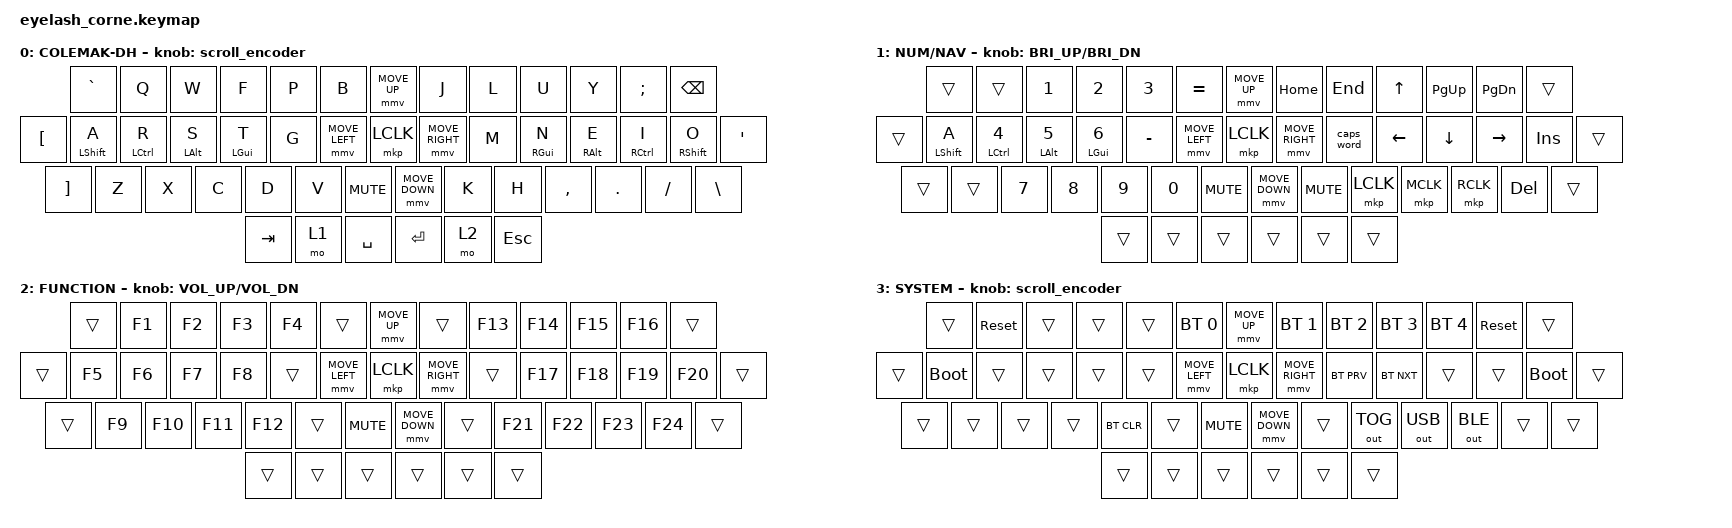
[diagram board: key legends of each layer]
/*
 * Copyright (c) 2020 The ZMK Contributors
 *
 * SPDX-License-Identifier: MIT
 */
#define ZMK_POINTING_DEFAULT_SCRL_VAL 100

#include <behaviors.dtsi>
#include <dt-bindings/zmk/keys.h>
#include <dt-bindings/zmk/bt.h>
#include <dt-bindings/zmk/outputs.h>
#include <dt-bindings/zmk/mouse.h>
#include <dt-bindings/zmk/pointing.h>
#include <input/processors.dtsi>
#include <zephyr/dt-bindings/input/input-event-codes.h>

&mmv_input_listener { input-processors = <&zip_xy_scaler 2 1>; };

&msc_input_listener { input-processors = <&zip_scroll_scaler 2 1>; };

&msc {
    acceleration-exponent = <1>;      // 0
    time-to-max-speed-ms = <100>;       // 300
    delay-ms = <0>;                   // 0
};

&mmv {
    time-to-max-speed-ms = <500>;
    acceleration-exponent = <1>;
    trigger-period-ms = <16>;
};

/ {
    behaviors {
        ht: hold_tap {
            compatible = "zmk,behavior-hold-tap";
            #binding-cells = <2>;
            flavor = "tap-preferred";
            tapping-term-ms = <220>;
            quick-tap-ms = <150>;
            require-prior-idle-ms = <100>;
            bindings = <&kp>, <&kp>;
        };
    };

    conditional_layers {
        compatible = "zmk,conditional-layers";
        tri_layer {
            if-layers = <1 2>;
            then-layer = <3>;
        };
    };

    scroll_encoder: behavior_sensor_rotate_mouse_wheel_up_down {
        compatible = "zmk,behavior-sensor-rotate";
        #sensor-binding-cells = <0>;
        bindings = <&msc SCRL_UP>, <&msc SCRL_DOWN>;

        tap-ms = <20>;
    };

    keymap {
        compatible = "zmk,keymap";

        // ============================================================================
        // COLEMAK-DH BASE LAYER (42 keys)
        // ============================================================================
        default_layer {
            display-name = "COLEMAK-DH";
            bindings = <
        //╭──────────┬──────────┬──────────┬──────────┬──────────┬──────────╮   ╭──────────┬──────────┬──────────┬──────────╮   ╭──────────┬──────────┬──────────┬──────────┬──────────┬──────────╮
        //│  ` ~     │  Q       │  W       │  F       │  P       │  B       │   │          │          │ MOVE_UP  │          │   │  J       │  L       │  U       │  Y       │ ; :      │  BSPC    │
            &kp GRAVE  &kp Q      &kp W      &kp F      &kp P      &kp B                                &mmv MOVE_UP              &kp J      &kp L      &kp U      &kp Y      &kp SEMI   &kp BSPC
        //├──────────┼──────────┼──────────┼──────────┼──────────┼──────────┤   ├──────────┼──────────┼──────────┼──────────┤   ├──────────├──────────├──────────┼──────────┼──────────┼──────────┤
        //│  [ {     │  A       │  R       │  S       │  T       │  G       │   │          │MOVE_LEFT │ L_CLICK  │MOVE_RIGHT│   │  M       │  N       │  E       │  I       │  O       │  ' "     │
            &kp LBKT   &ht LSHFT A &ht LCTRL R &ht LALT S   &ht LGUI T      &kp G            &mmv MOVE_LEFT &mkp LCLK &mmv MOVE_RIGHT &kp M  &ht RGUI N   &ht RALT E   &ht RCTRL I &ht RSHFT O    &kp SQT
        //├──────────┼──────────┼──────────┼──────────┼──────────┼──────────┤   ├──────────┼──────────┼──────────┼──────────┤   ├──────────├──────────├──────────┼──────────┼──────────┼──────────┤
        //│  ] }     │  Z       │  X       │  C       │  D       │  V       │   │ C_MUTE   │          │MOVE_DOWN │          │      K       │  H       │ , <      │ . >      │ / ?      │ \ |      │
            &kp RBKT   &kp Z      &kp X      &kp C      &kp D      &kp V          &kp C_MUTE            &mmv MOVE_DOWN            &kp K      &kp H      &kp COMMA  &kp DOT    &kp FSLH   &kp BSLH
        //╰──────────┴──────────┴──────────┼──────────┼──────────┼──────────┤   ├──────────┼──────────┼──────────┼──────────╯   ├──────────┼──────────┼──────────┴──────────┴──────────┴──────────╯
                                             &kp TAB   &mo 1      &kp SPACE                                                      &kp ENTER  &mo 2      &kp ESC
        //                                 ╰──────────┴──────────┴──────────╯                                                   ╰──────────┴──────────┴──────────╯
            >;
            sensor-bindings = <&scroll_encoder>;
        };

        // ============================================================================
        // NUMBERS & NAVIGATION LAYER (42 keys)
        // ============================================================================
        number_nav_layer {
            display-name = "NUM/NAV";
            bindings = <
        //╭──────────┬──────────┬──────────┬──────────┬──────────┬──────────╮   ╭──────────┬──────────┬──────────┬──────────╮   ╭──────────┬──────────┬──────────┬──────────┬──────────┬──────────╮
        //│          │          │  1       │  2       │  3       │  = +     │   │          │          │ MOVE_UP  │          │   │  HOME    │  END     │  UP      │ PAGE UP  │ PAGE DN  │          │
            &trans     &trans     &kp N1     &kp N2     &kp N3     &kp EQUAL                            &mmv MOVE_UP              &kp HOME   &kp END    &kp UP     &kp PG_UP  &kp PG_DN  &trans
        //├──────────┼──────────┼──────────┼──────────┼──────────┼──────────┤   ├──────────┼──────────┼──────────┼──────────┤   ├──────────┼──────────┼──────────┼──────────┼──────────┼──────────┤
        //│          │          │  4       │  5       │  6       │  - _     │   │          │MOVE_LEFT │ L_CLICK  │MOVE_RIGHT│   │CAPS_WORD │  LEFT    │  DOWN    │  RIGHT   │  INSERT  │          │
            &trans     &ht LSHFT A &ht LCTRL N4 &ht LALT N5 &ht LGUI N6 &kp MINUS      &mmv MOVE_LEFT &mkp LCLK &mmv MOVE_RIGHT &caps_word   &kp LEFT   &kp DOWN   &kp RIGHT  &kp INS &trans
        //├──────────┼──────────┼──────────┼──────────┼──────────┼──────────┤   ├──────────┼──────────┼──────────┼──────────┤   ├──────────┼──────────┼──────────┼──────────┼──────────┼──────────┤
        //│          │          │  7       │  8       │  9       │  0       │   │ C_MUTE   │          │MOVE_DOWN │          │   │ C_MUTE   │ L_CLICK  │ M_CLICK  │ R_CLICK  │  DELETE  │          │
            &trans     &trans     &kp N7     &kp N8     &kp N9     &kp N0         &kp C_MUTE            &mmv MOVE_DOWN            &kp C_MUTE &mkp LCLK  &mkp MCLK  &mkp RCLK  &kp DEL    &trans
        //╰──────────┴──────────┴──────────┼──────────┼──────────┼──────────┤   ├──────────┼──────────┼──────────┼──────────╯   ├──────────┼──────────┼──────────┴──────────┴──────────┴──────────╯
                                             &trans     &trans     &trans                                                          &trans     &trans     &trans
        //                                 ╰──────────┴──────────┴──────────╯                                                   ╰──────────┴──────────┴──────────╯
            >;
            sensor-bindings = <&inc_dec_kp C_BRI_UP C_BRI_DN>;
        };

        // ============================================================================
        // FUNCTION KEYS LAYER (42 keys)
        // ============================================================================
        symbol_layer {
            display-name = "FUNCTION";
            bindings = <
        //╭──────────┬──────────┬──────────┬──────────┬──────────┬──────────╮   ╭──────────┬──────────┬──────────┬──────────╮   ╭──────────┬──────────┬──────────┬──────────┬──────────┬──────────╮
        //│          │  F1      │  F2      │  F3      │  F4      │          │   │          │          │ MOVE_UP  │          │   │          │  F13     │  F14     │  F15     │  F16     │          │
           &trans     &kp F1     &kp F2     &kp F3     &kp F4     &trans                               &mmv MOVE_UP              &trans     &kp F13    &kp F14    &kp F15    &kp F16    &trans
        //├──────────┼──────────┼──────────┼──────────┼──────────┼──────────┤   ├──────────┼──────────┼──────────┼──────────┤   ├──────────┼──────────┼──────────┼──────────┼──────────┼──────────┤
        //│          │  F5      │  F6      │  F7      │  F8      │          │   │          │MOVE_LEFT │ L_CLICK  │MOVE_RIGHT│   │          │  F17     │  F18     │  F19     │  F20     │          │
            &trans     &kp F5     &kp F6     &kp F7     &kp F8     &trans         &mmv MOVE_LEFT &mkp LCLK &mmv MOVE_RIGHT &trans     &kp F17    &kp F18    &kp F19    &kp F20    &trans
        //├──────────┼──────────┼──────────┼──────────┼──────────┼──────────┤   ├──────────┼──────────┼──────────┼──────────┤   ├──────────┼──────────┼──────────┼──────────┼──────────┼──────────┤
        //│          │  F9      │  F10     │  F11     │  F12     │          │   │ C_MUTE   │          │MOVE_DOWN │          │   │          │  F21     │  F22     │  F23     │  F24     │          │
            &trans     &kp F9     &kp F10    &kp F11    &kp F12    &trans         &kp C_MUTE            &mmv MOVE_DOWN            &trans     &kp F21    &kp F22    &kp F23    &kp F24    &trans
        //╰──────────┴──────────┴──────────┼──────────┼──────────┼──────────┤   ├──────────┼──────────┼──────────┼──────────╯   ├──────────┼──────────┼──────────┴──────────┴──────────┴──────────╯
                                             &trans     &trans     &trans                                                          &trans     &trans     &trans
        //                                 ╰──────────┴──────────┴──────────╯                                                   ╰──────────┴──────────┴──────────╯
            >;
            sensor-bindings = <&inc_dec_kp C_VOL_UP C_VOL_DN>;
        };

        // ============================================================================
        // SYSTEM & BLUETOOTH LAYER (42 keys)
        // ============================================================================
        adjust_layer {
            display-name = "SYSTEM";
            bindings = <
        //╭──────────┬──────────┬──────────┬──────────┬──────────┬──────────╮   ╭──────────┬──────────┬──────────┬──────────╮   ╭──────────┬──────────┬──────────┬──────────┬──────────┬──────────╮
        //│          │ RESET    │          │          │          │PROFILE 0 │   │          │          │ MOVE_UP  │          │   │PROFILE 1 │PROFILE 2 │PROFILE 3 │PROFILE 4 │  RESET   │          │
           &trans    &sys_reset  &trans     &trans     &trans    &bt BT_SEL 0                          &mmv MOVE_UP             &bt BT_SEL 1 &bt BT_SEL 2 &bt BT_SEL 3 &bt BT_SEL 4 &sys_reset &trans
        //├──────────┼──────────┼──────────┼──────────┼──────────┼──────────┤   ├──────────┼──────────┼──────────┼──────────┤   ├──────────┼──────────┼──────────┼──────────┼──────────┼──────────┤
        //│          │BOOTLOADER│          │          │          │          │   │          │MOVE_LEFT │ L_CLICK  │MOVE_RIGHT│   │ BT PREV  │ BT NEXT  │          │          │BOOTLOADER│          │
           &trans   &bootloader  &trans     &trans     &trans     &trans                   &mmv MOVE_LEFT &mkp LCLK &mmv MOVE_RIGHT &bt BT_PRV &bt BT_NXT  &trans     &trans    &bootloader &trans
        //├──────────┼──────────┼──────────┼──────────┼──────────┼──────────┤   ├──────────┼──────────┼──────────┼──────────┤   ├──────────┼──────────┼──────────┼──────────┼──────────┼──────────┤
        //│          │          │          │          │ BT CLR   │          │   │ C_MUTE   │          │MOVE_DOWN │          │   │          │ OUT TOG  │ OUT USB  │ OUT BLE  │          │          │
           &trans     &trans     &trans     &trans    &bt BT_CLR  &trans         &kp C_MUTE            &mmv MOVE_DOWN            &trans    &out OUT_TOG &out OUT_USB &out OUT_BLE &trans   &trans
        //╰──────────┴──────────┴──────────┼──────────┼──────────┼──────────┤   ├──────────┼──────────┼──────────┼──────────╯   ├──────────┼──────────┼──────────┴──────────┴──────────┴──────────╯
                                             &trans     &trans     &trans                                                          &trans     &trans     &trans
        //                                 ╰──────────┴──────────┴──────────╯                                                   ╰──────────┴──────────┴──────────╯
            >;
            sensor-bindings = <&scroll_encoder>;
        };
    };
};
